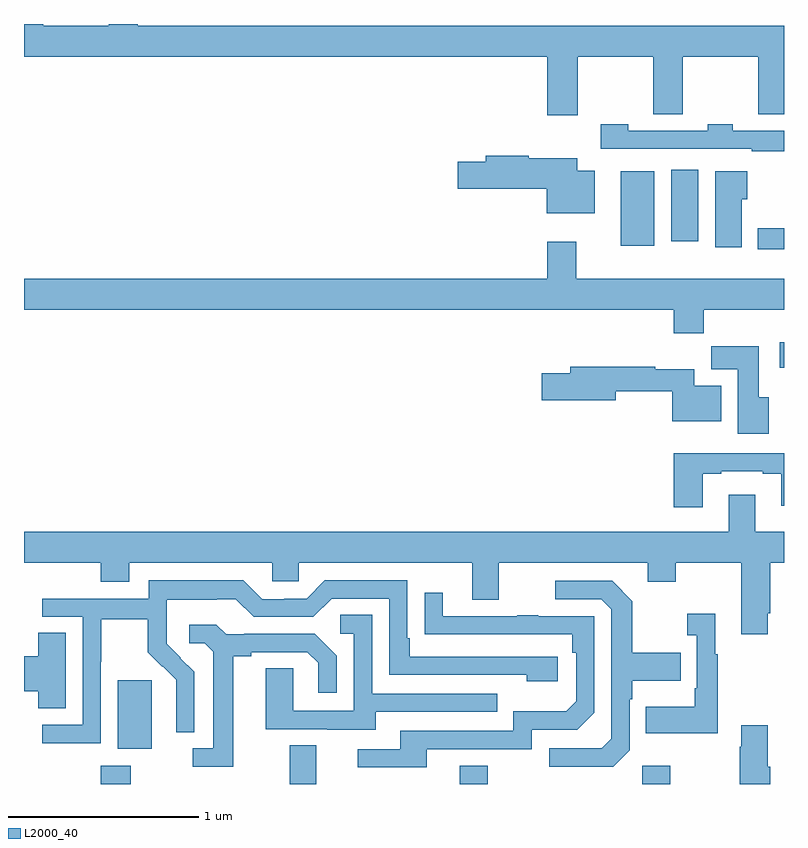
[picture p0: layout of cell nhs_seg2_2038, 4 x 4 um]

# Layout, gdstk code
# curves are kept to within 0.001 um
import gdstk
lib = gdstk.Library(unit=1e-6, precision=1e-09)
def R(c, l, rs):  # rectangles x0, y0, x1, y1
    for r in rs: c.add(gdstk.rectangle(r[:2], r[2:], *l))
def P(c, l, *ps):  # polygons
    for p in ps: c.add(gdstk.Polygon(p, *l))
L2000_40 = (2000, 40)

nhs_seg2_2038 = lib.new_cell('nhs_seg2_2038')
R(nhs_seg2_2038, L2000_40, [(217.403,651.8,217.563,651.895), (218.399,651.8,218.539,652.004), (219.293,651.8,219.441,651.895), (220.254,651.8,220.401,651.895), (217.493,651.986,217.672,652.347), (220.977,653.99,221,654.124), (220.863,654.614,221,654.724), (220.142,654.632,220.318,655.024), (220.406,654.657,220.549,655.033)])
P(nhs_seg2_2038, L2000_40, [(219.915,655.628),(220.312,655.628),(220.312,655.324),(220.466,655.324),(220.466,655.628),(220.864,655.628),(220.864,655.324),(221,655.324),(221,655.792),(217.598,655.792),(217.598,655.8),(217.445,655.8),(217.445,655.792),(217.101,655.792),(217.101,655.8),(217,655.8),(217,655.628),(219.755,655.628),(219.755,655.32),(219.915,655.32)],
  [(221,655.239),(220.731,655.239),(220.731,655.272),(220.599,655.272),(220.599,655.239),(220.179,655.239),(220.179,655.272),(220.035,655.272),(220.035,655.143),(220.831,655.143),(220.831,655.131),(221,655.131)],
  [(220.003,655.027),(219.913,655.027),(219.913,655.093),(219.656,655.093),(219.656,655.106),(219.431,655.106),(219.431,655.076),(219.282,655.076),(219.282,654.934),(219.752,654.934),(219.752,654.803),(220.003,654.803)],
  [(220.777,654.877),(220.807,654.877),(220.807,655.024),(220.637,655.024),(220.637,654.624),(220.777,654.624)],
  [(220.577,654.296),(221,654.296),(221,654.46),(219.907,654.46),(219.907,654.655),(219.755,654.655),(219.755,654.46),(217,654.46),(217,654.296),(220.421,654.296),(220.421,654.172),(220.577,654.172)],
  [(220.921,653.836),(220.867,653.836),(220.867,654.103),(220.618,654.103),(220.618,653.984),(220.757,653.984),(220.757,653.643),(220.921,653.643)],
  [(220.669,653.896),(220.528,653.896),(220.528,653.984),(220.322,653.984),(220.322,653.995),(219.875,653.995),(219.875,653.961),(219.726,653.961),(219.726,653.819),(220.114,653.819),(220.114,653.866),(220.411,653.866),(220.411,653.708),(220.669,653.708)],
  [(220.573,653.433),(220.669,653.433),(220.669,653.445),(220.889,653.445),(220.889,653.433),(220.985,653.433),(220.985,653.264),(221,653.264),(221,653.541),(220.665,653.541),(220.665,653.542),(220.421,653.542),(220.421,653.256),(220.573,653.256)],
  [(220.915,652.699),(220.928,652.699),(220.928,652.964),(221,652.964),(221,653.128),(220.849,653.128),(220.849,653.323),(220.709,653.323),(220.709,653.128),(217,653.128),(217,652.964),(217.403,652.964),(217.403,652.865),(217.555,652.865),(217.555,652.964),(218.307,652.964),(218.307,652.866),(218.445,652.866),(218.445,652.964),(219.359,652.964),(219.359,652.77),(219.499,652.77),(219.499,652.964),(220.283,652.964),(220.283,652.865),(220.431,652.865),(220.431,652.964),(220.775,652.964),(220.775,652.587),(220.915,652.587)],
  [(217.404,652.444),(217.407,652.444),(217.407,652.668),(217.651,652.668),(217.651,652.493),(217.728,652.416),(217.731,652.419),(217.802,652.349),(217.802,652.226),(217.8,652.226),(217.8,652.072),(217.896,652.072),(217.896,652.39),(217.75,652.538),(217.75,652.635),(217.752,652.635),(217.752,652.769),(218.015,652.769),(218.015,652.773),(218.115,652.773),(218.208,652.68),(218.523,652.68),(218.619,652.776),(218.922,652.776),(218.922,652.374),(219.647,652.374),(219.647,652.34),(219.808,652.34),(219.808,652.47),(219.031,652.47),(219.031,652.567),(219.018,652.567),(219.018,652.872),(218.583,652.872),(218.487,652.776),(218.369,652.776),(218.369,652.773),(218.253,652.773),(218.153,652.873),(217.656,652.873),(217.656,652.776),(217.095,652.776),(217.095,652.68),(217.308,652.68),(217.308,652.113),(217.095,652.113),(217.095,652.015),(217.404,652.015)],
  [(220.188,651.978),(220.188,652.247),(220.201,652.247),(220.201,652.343),(220.457,652.343),(220.457,652.491),(220.201,652.491),(220.201,652.763),(220.095,652.869),(219.795,652.869),(219.795,652.773),(220.038,652.773),(220.092,652.719),(220.092,652.038),(220.041,651.987),(219.765,651.987),(219.765,651.891),(220.101,651.891)],
  [(219.121,651.984),(219.672,651.984),(219.672,652.086),(219.912,652.086),(220.002,652.176),(220.002,652.683),(219.707,652.683),(219.707,652.688),(219.595,652.688),(219.595,652.683),(219.205,652.683),(219.205,652.807),(219.109,652.807),(219.109,652.588),(219.886,652.587),(219.886,652.49),(219.906,652.49),(219.906,652.236),(219.853,652.183),(219.576,652.183),(219.576,652.08),(218.981,652.08),(218.981,651.984),(218.757,651.984),(218.757,651.888),(219.121,651.888)],
  [(220.651,652.483),(220.639,652.483),(220.639,652.696),(220.491,652.696),(220.491,652.583),(220.542,652.583),(220.542,652.303),(220.53,652.303),(220.53,652.207),(220.273,652.207),(220.273,652.067),(220.651,652.067)],
  [(218.851,652.179),(219.491,652.179),(219.491,652.275),(218.832,652.275),(218.832,652.691),(218.664,652.691),(218.664,652.59),(218.736,652.59),(218.736,652.185),(218.418,652.185),(218.418,652.409),(218.273,652.409),(218.273,652.089),(218.597,652.089),(218.597,652.085),(218.851,652.085)],
  [(218.101,652.472),(218.197,652.472),(218.197,652.494),(218.492,652.494),(218.549,652.437),(218.549,652.281),(218.646,652.281),(218.646,652.474),(218.53,652.59),(218.158,652.59),(218.158,652.587),(218.064,652.587),(218.012,652.639),(217.869,652.639),(217.869,652.542),(217.95,652.542),(217.997,652.495),(217.997,651.987),(217.887,651.987),(217.887,651.891),(218.101,651.891)],
  [(217.219,652.595),(217.076,652.595),(217.076,652.472),(217,652.472),(217,652.289),(217.076,652.289),(217.076,652.198),(217.219,652.198)],
  [(220.928,651.892),(220.915,651.892),(220.915,652.108),(220.775,652.108),(220.775,651.995),(220.768,651.995),(220.768,651.8),(220.928,651.8)])

lib.write_gds('nhs_seg2_2038.gds')
